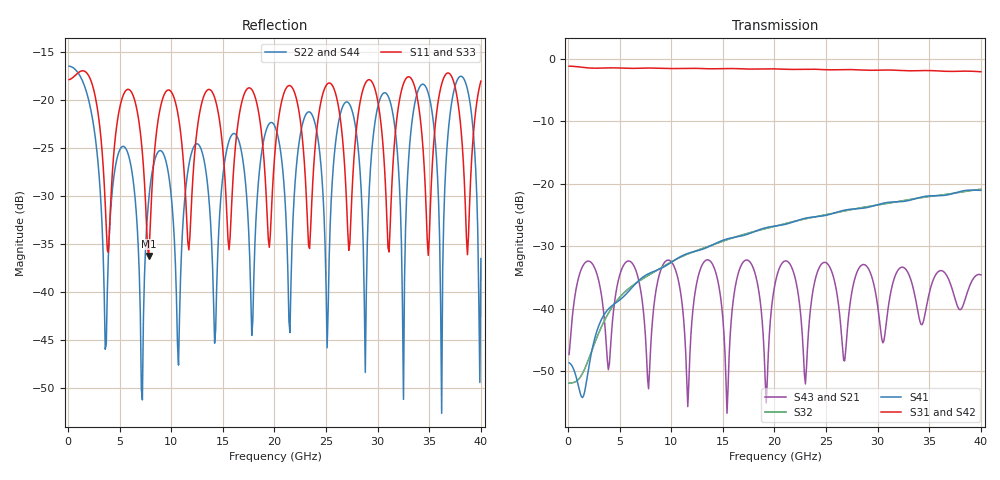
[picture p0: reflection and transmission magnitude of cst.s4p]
! T_ts6_broadside_o0: Broadside: In2 over In3 across the 0.93 mm core, lateral offset 0 mm, 20 mm
! stackup: ThunderScope Rev5.3 6-layer (FR408HR / FR-4, from the board file)
! ports: 1 near A, 2 near B, 3 far A, 4 far B
! CST Studio Suite 2025.5 Release from 2025-05-30, time domain (FIT, hexahedral, PBA), 157209 mesh cells, 39 s
! mesh: {'lpw': 20, 'lpb': 20, 'minstep': 0.0, 'ratio': 20}; ports: port 1 (face); port 2 (face); port 3 (face); port 4 (face)
! interpolated from CST's 1001 samples to the case grid
# Hz S RI R 50
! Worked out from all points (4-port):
!   400 points, 100 MHz to 40 GHz, reference 50 ohm
!   strongest paths, dB at 100 MHz, 10.1 GHz, 20.1 GHz, 30.1 GHz, 40 GHz:
!     S31: -1.2, -1.6, -1.6, -1.8, -2.1
!     S42: -1.4, -1.5, -1.7, -1.9, -2.2
!     S41: -48.6, -32.5, -26.8, -23.3, -21.1
!     S32: -51.9, -32.4, -26.8, -23.4, -20.9
!     S43: -47.3, -32.7, -35.7, -40.8, -34.6
!     S21: -47.3, -32.7, -35.7, -40.8, -34.6
!   lowest |S11| = -36.3 dB at 7.8 GHz (marker M1), VSWR 1.03, Z = 51.6 + j0.0931 ohm
!   |S11| at or under -10 dB: start of sweep to end of sweep
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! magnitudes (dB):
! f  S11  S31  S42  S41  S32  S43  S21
! 100 MHz  -17.9  -1.2  -1.4  -48.6  -51.9  -47.3  -47.3
! 3.6 GHz  -30.8  -1.5  -1.5  -40.7  -41.6  -43.3  -43.3
! 7.8 GHz  -36.3  -1.5  -1.5  -34.4  -34.6  -52.8  -52.8
! 9.6 GHz  -19.0  -1.6  -1.5  -33.0  -32.9  -32.2  -32.2
! 15.4 GHz  -32.3  -1.6  -1.6  -28.8  -29.0  -56.7  -56.7
! 17.2 GHz  -19.1  -1.7  -1.6  -28.2  -28.0  -32.2  -32.2
! 40 GHz  -18.0  -2.1  -2.2  -21.1  -20.9  -34.6  -34.6
